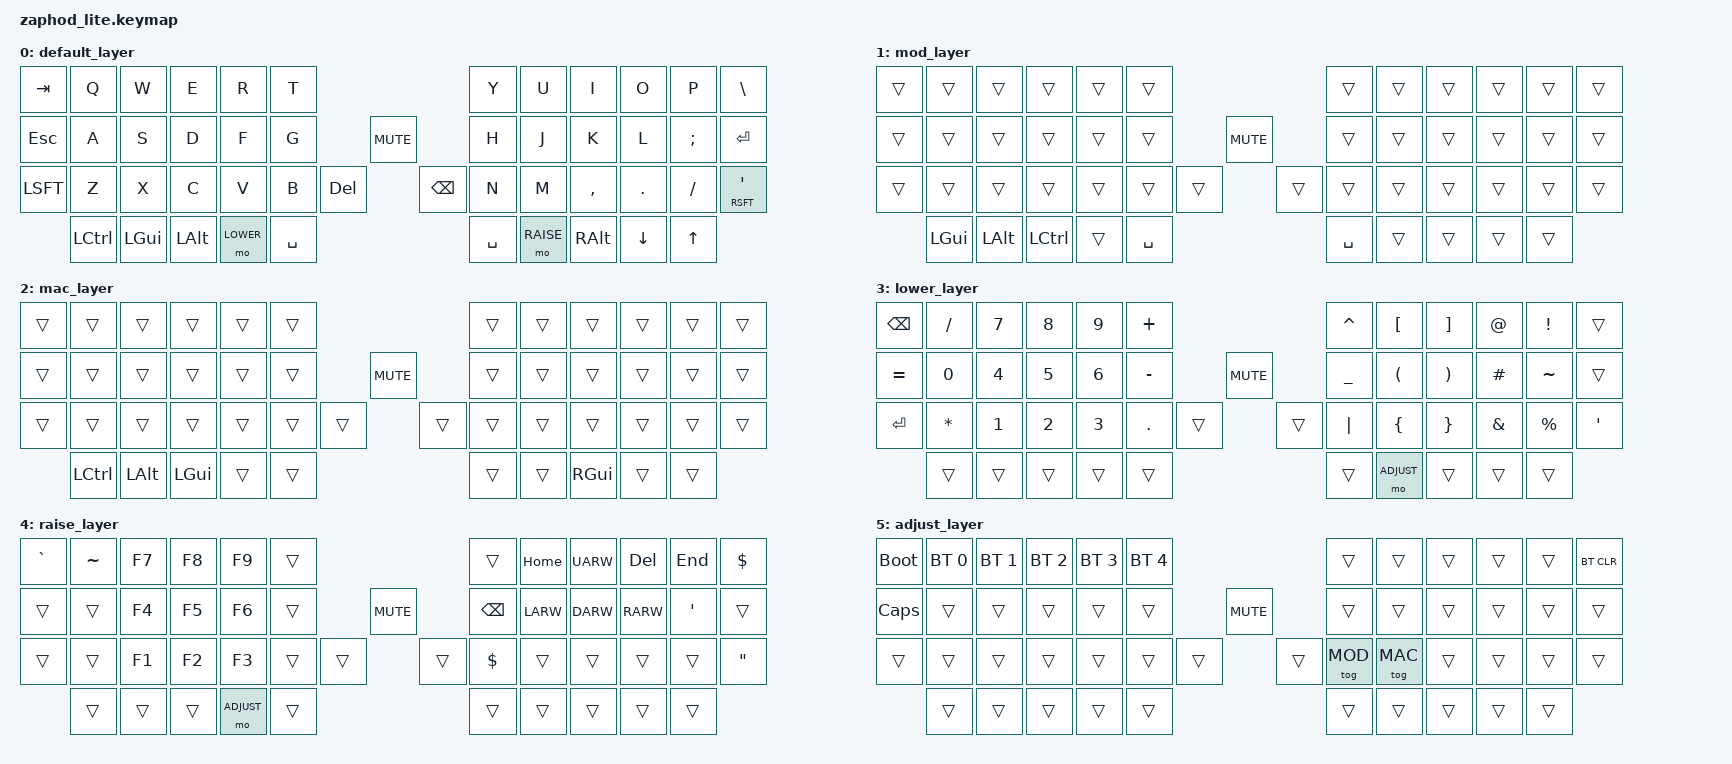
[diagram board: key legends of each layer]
/*
 * Copyright (c) 2021 Pete Johanson
 *
 * SPDX-License-Identifier: MIT
 */

#include <behaviors.dtsi>
#include <dt-bindings/zmk/keys.h>
#include <dt-bindings/zmk/bt.h>
#include <dt-bindings/zmk/outputs.h>
#include <input/processors.dtsi>
#include <dt-bindings/zmk/pointing.h>
#define NAV_L 1
#define OTH_L 2
#define NUM_L 3
#define SYM_L 4
#define FUN_L 5
#define MED_L 6

#define DEFAULT 0
#define MOD     1
#define MAC     2
#define LOWER   3
#define RAISE   4
#define ADJUST  5

// Using layer taps on thumbs, having quick tap as well helps w/ repeating space/backspace
&lt { quick_tap_ms = <200>; };

/ {
    combos {
        compatible = "zmk,combos";

        fn_mo {
	    timeout-ms = <50>;
            key-positions = <32 33>;
            bindings = <&mo FUN_L>;
        };

        media_mo {
	    timeout-ms = <50>;
            key-positions = <30 31>;
            bindings = <&mo MED_L>;
        };

	/*
        caps_word_combo {
	    timeout-ms = <50>;
            key-positions = <13 16>;
            bindings = <&caps_word>;
        };
	*/
    };

    behaviors {
        hm: homerow_mods {
            compatible = "zmk,behavior-hold-tap";
            label = "homerow mods";
            #binding-cells = <2>;
            tapping_term_ms = <200>;
            flavor = "tap-preferred";
            bindings = <&kp>, <&kp>;
        };
    };

    keymap {
        compatible = "zmk,keymap";

        default_layer {
            bindings = <
                &kp TAB     &kp Q       &kp W       &kp E       &kp R     &kp T                                             &kp Y       &kp U       &kp I       &kp O       &kp P       &kp BSLH
                &kp ESC     &kp A       &kp S       &kp D       &kp F     &kp G                    &kp C_MUTE               &kp H       &kp J       &kp K       &kp L       &kp SCLN    &kp RET
                &kp LSFT    &kp Z       &kp X       &kp C       &kp V     &kp B         &kp DEL                 &kp BSPC    &kp N       &kp M       &kp CMMA    &kp DOT     &kp FSLH    &mt RSFT SQT
                            &kp LCTL    &kp LGUI    &kp LALT    &mo LOWER &kp SPC                                           &kp SPC     &mo RAISE   &kp RALT    &kp DOWN    &kp UP
            >;

        };

        mod_layer {
            bindings = <
                &trans      &trans      &trans      &trans      &trans      &trans                                          &trans      &trans      &trans      &trans      &trans      &trans
                &trans      &trans      &trans      &trans      &trans      &trans                 &kp C_MUTE               &trans      &trans      &trans      &trans      &trans      &trans
                &trans      &trans      &trans      &trans      &trans      &trans      &trans                  &trans      &trans      &trans      &trans      &trans      &trans      &trans 
                            &kp LGUI    &kp LALT    &kp LCTL    &trans      &kp SPC                                         &kp SPC     &trans      &trans      &trans      &trans
            >;

        };

        mac_layer {
            bindings = <
                &trans      &trans      &trans      &trans      &trans      &trans                                          &trans      &trans      &trans      &trans      &trans      &trans
                &trans      &trans      &trans      &trans      &trans      &trans                &kp C_MUTE                &trans      &trans      &trans      &trans      &trans      &trans
                &trans      &trans      &trans      &trans      &trans      &trans      &trans                  &trans      &trans      &trans      &trans      &trans      &trans      &trans 
                            &kp LCTL    &kp LALT    &kp LGUI    &trans      &trans                                          &trans      &trans      &kp RGUI    &trans      &trans
            >;

        };

        lower_layer {
            bindings = < 
                &kp BKSP    &kp FSLH    &kp NUM_7   &kp NUM_8   &kp NUM_9   &kp PLUS                                        &kp CARET   &kp LBKT    &kp RBKT    &kp AT      &kp EXCL    &trans 
                &kp EQUAL   &kp NUM_0   &kp NUM_4   &kp NUM_5   &kp NUM_6   &kp MINUS              &kp C_MUTE               &kp UNDER   &kp LPAR    &kp RPAR    &kp HASH    &kp TILDE   &trans 
                &kp RET     &kp STAR    &kp NUM_1   &kp NUM_2   &kp NUM_3   &kp DOT      &trans                 &trans      &kp PIPE    &kp LBRC    &kp RBRC    &kp AMPS    &kp PRCNT   &kp SQT
                            &trans      &trans      &trans      &trans      &trans                                          &trans      &mo ADJUST  &trans      &trans      &trans
            >;
 
        };

        raise_layer {
            bindings = <
                &kp GRAV    &kp TILDE   &kp F7      &kp F8    &kp F9      &trans                                          &trans      &kp HOME    &kp UARW    &kp DEL     &kp END     &kp DOLLAR
                &trans      &trans      &kp F4      &kp F5    &kp F6      &trans                  &kp C_MUTE              &kp BSPC    &kp LARW    &kp DARW    &kp RARW    &kp APOS    &trans 
                &trans      &trans      &kp F1      &kp F2    &kp F3      &trans       &trans                  &trans     &kp DOLLAR  &trans      &trans      &trans      &trans      &kp DQT 
                            &trans      &trans      &trans    &mo ADJUST  &trans                                          &trans      &trans      &trans      &trans      &trans
            >;
            
        };
        
        adjust_layer {
            bindings = <     
                &bootloader &bt BT_SEL 0    &bt BT_SEL 1    &bt BT_SEL 2    &bt BT_SEL 3    &bt BT_SEL 4                                                &trans          &trans          &trans          &trans          &trans           &bt BT_CLR     
                &kp CAPS    &trans          &trans          &trans          &trans          &trans                         &kp C_MUTE                   &trans          &trans          &trans          &trans          &trans           &trans  
                &trans      &trans          &trans          &trans          &trans          &trans              &trans                    &trans        &tog MOD        &tog MAC        &trans          &trans          &trans           &trans  
                            &trans          &trans          &trans          &trans          &trans                                                      &trans          &trans          &trans          &trans          &trans
            >;
        };

    };
};

